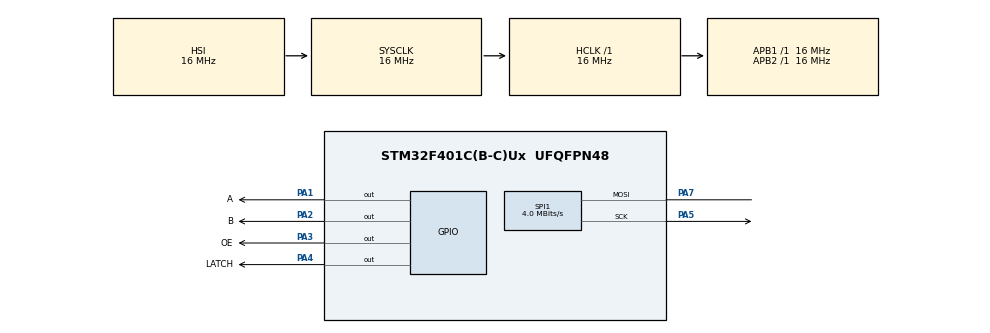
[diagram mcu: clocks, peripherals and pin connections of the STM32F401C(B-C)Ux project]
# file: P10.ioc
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Mcu.Family=STM32F4
Mcu.Name=STM32F401C(B-C)Ux
Mcu.Package=UFQFPN48
NVIC.PriorityGroup=NVIC_PRIORITYGROUP_4
NVIC.TIM2_IRQn=true\:0\:0\:false\:false\:true\:true\:true\:true
PA1.GPIO_Label=A
PA1.Signal=GPIO_Output
PA13.Mode=Serial_Wire
PA13.Signal=SYS_JTMS-SWDIO
PA14.Mode=Serial_Wire
PA14.Signal=SYS_JTCK-SWCLK
PA2.GPIO_Label=B
PA2.Signal=GPIO_Output
PA3.GPIO_Label=OE
PA3.Signal=GPIO_Output
PA4.GPIO_Label=LATCH
PA4.Signal=GPIO_Output
PA5.Mode=Simplex_Bidirectional_Master
PA5.Signal=SPI1_SCK
PA7.Mode=Simplex_Bidirectional_Master
PA7.Signal=SPI1_MOSI
PH0\ -\ OSC_IN.Mode=HSE-External-Clock-Source
PH0\ -\ OSC_IN.Signal=RCC_OSC_IN
PH1\ -\ OSC_OUT.Mode=HSE-External-Clock-Source
PH1\ -\ OSC_OUT.Signal=RCC_OSC_OUT
ProjectManager.HeapSize=0x200
ProjectManager.StackSize=0x400
ProjectManager.TargetToolchain=STM32CubeIDE
RCC.AHBFreq_Value=16000000
RCC.APB1Freq_Value=16000000
RCC.APB2Freq_Value=16000000
RCC.CortexFreq_Value=16000000
RCC.HSE_VALUE=25000000
RCC.HSI_VALUE=16000000
RCC.LSE_VALUE=32768
RCC.SYSCLKFreq_VALUE=16000000
RCC.VCOOutputFreq_Value=192000000
SPI1.BaudRatePrescaler=SPI_BAUDRATEPRESCALER_4
SPI1.CalculateBaudRate=4.0 MBits/s
SPI1.Direction=SPI_DIRECTION_1LINE
SPI1.Mode=SPI_MODE_MASTER
SPI1.VirtualType=VM_MASTER
TIM2.AutoReloadPreload=TIM_AUTORELOAD_PRELOAD_ENABLE
TIM2.Period=160
TIM2.Prescaler=1000
TIM2.TIM_MasterOutputTrigger=TIM_TRGO_UPDATE
VP_TIM2_VS_ClockSourceINT.Mode=Internal
board=custom

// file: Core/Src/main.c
/* USER CODE BEGIN Header */
/**
  ******************************************************************************
  * @file           : main.c
  * @brief          : Main program body
  ******************************************************************************
  * @attention
  *
  * Copyright (c) 2023 STMicroelectronics.
  * All rights reserved.
  *
  * This software is licensed under terms that can be found in the LICENSE file
  * in the root directory of this software component.
  * If no LICENSE file comes with this software, it is provided AS-IS.
  *
  ******************************************************************************
  */
/* USER CODE END Header */
#include "main.h"

/* USER CODE BEGIN Includes */
#include "font.h"
/* USER CODE END Includes */

/* USER CODE BEGIN PM */
uint8_t s_0[2][6][5] = {{
		{0,0,0,0,0},
		{1,0,0,0,1},
		{1,1,0,1,1},
		{1,1,0,1,1},
		{1,0,0,0,1},
		{0,0,0,0,0}},
		{
		{2,1,0,1,2},
		{2,0,0,1,2},
		{2,1,0,1,2},
		{2,1,0,1,2},
		{2,1,0,1,2},
		{2,0,0,0,2}
		}

};

char ALFABE[2] = "01";
/* USER CODE END PM */

SPI_HandleTypeDef hspi1;

TIM_HandleTypeDef htim2;

void SystemClock_Config(void);
static void MX_GPIO_Init(void);
static void MX_SPI1_Init(void);
static void MX_TIM2_Init(void);

/* USER CODE BEGIN 0 */
volatile uint8_t displayArea[4][16];
uint8_t EKRAN[16][32];
uint8_t transmitData;
int brightness =500;
uint8_t findCharIndex(char a)
{
	for(int i=0;i<sizeof(ALFABE);i++)
	{
		if(ALFABE[i] == a)
			return i;
	}
	return 254;
}
void Latch()
{
  HAL_GPIO_WritePin(GPIOA, LATCH_Pin, 1);
  HAL_GPIO_WritePin(GPIOA, LATCH_Pin, 0);
}
void writeData()
{
   for (uint8_t row = 0; row < 4; row++)
   {
	 HAL_GPIO_WritePin(GPIOA,A_Pin, row & 1);
	 HAL_GPIO_WritePin(GPIOA,B_Pin, row & 2);
    for (uint8_t col = 0; col < 16; col++)
    {
    	transmitData = displayArea[row][col];
    	HAL_SPI_Transmit(&hspi1, &transmitData, sizeof(transmitData), 2);
    }

    Latch();
    HAL_GPIO_WritePin(GPIOA, OE_Pin,1);
    HAL_Delay(5);
    HAL_GPIO_WritePin(GPIOA, OE_Pin,0);
   }

}
void clearScreen()
{
  for (uint8_t row = 0; row < 4; row++)
    for (uint8_t col = 0; col < 16; col++)
      displayArea[row][col] = 0xFF;
  for (uint8_t row = 0; row < 16; row++)
      for (uint8_t col = 0; col < 32; col++)
        EKRAN[row][col] = 1;
}
void drawPixel(uint8_t X,uint8_t Y,uint8_t Value)
{
	if(Value != 0 && Value != 1)
		return;
	EKRAN[Y][X] = Value;
}
void HAL_TIM_PeriodElapsedCallback(TIM_HandleTypeDef* htim)
{
	if(htim == &htim2)
	{

	}
}
uint8_t SATIR1INDEX=0;
uint8_t SATIR2INDEX=0;
uint8_t size = sizeof(s_0[0][0]);
int pows(int poww,int sayi)
{
	if (poww == 0)
		return 1;
	int buf = sayi;
	for (size_t i = 0; i < poww-1; i++)
	{
		buf *= sayi;
	}

	return buf;
}
void setAreaData(uint8_t bolge,uint8_t satir,uint8_t value)
{
	uint8_t etken=0;
	if(bolge <= 4)
	{
		displayArea[satir][3+(bolge-1)*4] = value;
	}else if(bolge <= 8 && bolge > 4)
	{
		displayArea[satir][2+(bolge-5)*4] = value;
	}else if(bolge > 8 && bolge <= 12)
	{
		displayArea[satir][1+(bolge-9)*4] = value;
	}else if(bolge > 12 && bolge <= 16)
	{
		displayArea[satir][0+(bolge-13)*4] = value;
	}

}
void WRITEE(uint8_t *STR,uint8_t len,uint8_t satirx)
{
	uint8_t CHARINDEX;
	uint8_t FREECOLCOUNT;
	if(satirx == 1)
	{
		for(int i = 0;i<len;i++)
			{
				CHARINDEX = findCharIndex(STR[i]);
				if(CHARINDEX == 254)
					continue;
				FREECOLCOUNT = 0;
				for(int s=0;s<5;s++)
				{
					if(s_0[CHARINDEX][0][s] == 2)
						FREECOLCOUNT++;
				}
				if(SATIR1INDEX + sizeof(s_0[CHARINDEX][0])-FREECOLCOUNT <= 32)
				{
					for(int satirr = 0;satirr<6;satirr++)
					{
						uint8_t SatirFreeTakip=0;
						for(int j=0;j<size;j++)
						{
							if(s_0[CHARINDEX][satirr][j] == 2)
							{
								SatirFreeTakip++;
								continue;
							}
							EKRAN[satirr][SATIR1INDEX+j-SatirFreeTakip] = s_0[CHARINDEX][satirr][j];
						}
					}
					SATIR1INDEX += 6-FREECOLCOUNT;

				}else
					break;
			}
	}else
	{
		for(int i = 0;i<len;i++)
			{
				CHARINDEX = findCharIndex(STR[i]);
				if(CHARINDEX == 254)
					continue;
				FREECOLCOUNT = 0;
				for(int s=0;s<5;s++)
				{
					if(s_0[CHARINDEX][0][s] == 2)
						FREECOLCOUNT++;
				}
				if(SATIR2INDEX + sizeof(s_0[CHARINDEX][0])-FREECOLCOUNT <= 32)
				{
					for(int satirr = 0;satirr<6;satirr++)
					{
						uint8_t SatirFreeTakip=0;
						for(int j=0;j<size;j++)
						{
							if(s_0[CHARINDEX][satirr][j] == 2)
							{
								SatirFreeTakip++;
								continue;
							}
							EKRAN[satirr+8][SATIR2INDEX+j-SatirFreeTakip] = s_0[CHARINDEX][satirr][j];
						}
					}
					SATIR2INDEX += 6-FREECOLCOUNT;

				}else
					break;
			}
	}
	// PİYASA BAŞLANGIÇÇÇ

	uint8_t BUFFERSAYI=0,TUR=0,vv=0;
	for(int satirr = 0;satirr<16;satirr++)
	{
		TUR=0;BUFFERSAYI =0;
		for(int sutun = 0;sutun<32;sutun++)
		{
			if(EKRAN[satirr][sutun] == 1)
				BUFFERSAYI += pows(7-(sutun-TUR*8), 2);
			if(sutun-TUR*8 == 7)
			{
				TUR++; // ÖNEMLİ BÖLGE 0 OLMAMALI TURU ARTTIR ALLAHINI SİKERİM
				uint8_t bolge=0;
				bolge = (satirr/4)*4+TUR;
				setAreaData(bolge,satirr%4, BUFFERSAYI);
				BUFFERSAYI = 0;
				vv++;
			}
		}
	}

	// PIYASA BITIS BABALAR SİKİŞ
}
uint8_t a[] = "101";
uint8_t b[] = "010";
/* USER CODE END 0 */

int main(void)
{

  /* MCU Configuration--------------------------------------------------------*/

  /* Reset of all peripherals, Initializes the Flash interface and the Systick. */
  HAL_Init();

  /* Configure the system clock */
  SystemClock_Config();

  /* Initialize all configured peripherals */
  MX_GPIO_Init();
  MX_SPI1_Init();
  MX_TIM2_Init();
  /* USER CODE BEGIN 2 */
  HAL_GPIO_WritePin(GPIOA, OE_Pin,0);
    HAL_GPIO_WritePin(GPIOA, A_Pin,0);
    HAL_GPIO_WritePin(GPIOA, B_Pin,0);
    HAL_GPIO_WritePin(GPIOA, LATCH_Pin,0);

  HAL_TIM_Base_Start_IT(&htim2);
  clearScreen();
  displayArea[1][6]=0x99;
  displayArea[2][6]=0x99;
  displayArea[3][6]=0b10000001;
  displayArea[0][5]=0b11000011;
  displayArea[1][5]=0b11100111;
  displayArea[2][5]=0b11100111;
  displayArea[3][5]=0b11100111;
  displayArea[3][10]=0b11001111;
  displayArea[0][9]=0b10110110;
  displayArea[1][9]=0b10000110;
  displayArea[2][9]=0b10111111;
  displayArea[3][9]=0b11000110;
  displayArea[1][14]=displayArea[2][14]=0b11111011;
  displayArea[3][14]=displayArea[1][13]=0b11011;
  displayArea[0][13]=0b11111011;
  displayArea[2][13]=0b11011111;
  displayArea[3][13]=0b111011;
  clearScreen();
  WRITEE(a, sizeof(a), 1);
  WRITEE(b, sizeof(b), 2);
  //writeData();
  /* USER CODE END 2 */

  /* Infinite loop */
  while (1)
  {

    /* USER CODE BEGIN 3 */

	  writeData();

  }
  /* USER CODE END 3 */
}

void SystemClock_Config(void)
{
  RCC_OscInitTypeDef RCC_OscInitStruct = {0};
  RCC_ClkInitTypeDef RCC_ClkInitStruct = {0};

  /** Configure the main internal regulator output voltage
  */
  __HAL_RCC_PWR_CLK_ENABLE();
  __HAL_PWR_VOLTAGESCALING_CONFIG(PWR_REGULATOR_VOLTAGE_SCALE2);

  /** Initializes the RCC Oscillators according to the specified parameters
  * in the RCC_OscInitTypeDef structure.
  */
  RCC_OscInitStruct.OscillatorType = RCC_OSCILLATORTYPE_HSI;
  RCC_OscInitStruct.HSIState = RCC_HSI_ON;
  RCC_OscInitStruct.HSICalibrationValue = RCC_HSICALIBRATION_DEFAULT;
  RCC_OscInitStruct.PLL.PLLState = RCC_PLL_NONE;
  if (HAL_RCC_OscConfig(&RCC_OscInitStruct) != HAL_OK)
  {
    Error_Handler();
  }

  /** Initializes the CPU, AHB and APB buses clocks
  */
  RCC_ClkInitStruct.ClockType = RCC_CLOCKTYPE_HCLK|RCC_CLOCKTYPE_SYSCLK
                              |RCC_CLOCKTYPE_PCLK1|RCC_CLOCKTYPE_PCLK2;
  RCC_ClkInitStruct.SYSCLKSource = RCC_SYSCLKSOURCE_HSI;
  RCC_ClkInitStruct.AHBCLKDivider = RCC_SYSCLK_DIV1;
  RCC_ClkInitStruct.APB1CLKDivider = RCC_HCLK_DIV1;
  RCC_ClkInitStruct.APB2CLKDivider = RCC_HCLK_DIV1;

  if (HAL_RCC_ClockConfig(&RCC_ClkInitStruct, FLASH_LATENCY_0) != HAL_OK)
  {
    Error_Handler();
  }
}

static void MX_SPI1_Init(void)
{

  /* SPI1 parameter configuration*/
  hspi1.Instance = SPI1;
  hspi1.Init.Mode = SPI_MODE_MASTER;
  hspi1.Init.Direction = SPI_DIRECTION_1LINE;
  hspi1.Init.DataSize = SPI_DATASIZE_8BIT;
  hspi1.Init.CLKPolarity = SPI_POLARITY_LOW;
  hspi1.Init.CLKPhase = SPI_PHASE_1EDGE;
  hspi1.Init.NSS = SPI_NSS_SOFT;
  hspi1.Init.BaudRatePrescaler = SPI_BAUDRATEPRESCALER_4;
  hspi1.Init.FirstBit = SPI_FIRSTBIT_MSB;
  hspi1.Init.TIMode = SPI_TIMODE_DISABLE;
  hspi1.Init.CRCCalculation = SPI_CRCCALCULATION_DISABLE;
  hspi1.Init.CRCPolynomial = 10;
  if (HAL_SPI_Init(&hspi1) != HAL_OK)
  {
    Error_Handler();
  }

}

static void MX_TIM2_Init(void)
{

  TIM_ClockConfigTypeDef sClockSourceConfig = {0};
  TIM_MasterConfigTypeDef sMasterConfig = {0};

  htim2.Instance = TIM2;
  htim2.Init.Prescaler = 1000;
  htim2.Init.CounterMode = TIM_COUNTERMODE_UP;
  htim2.Init.Period = 160;
  htim2.Init.ClockDivision = TIM_CLOCKDIVISION_DIV1;
  htim2.Init.AutoReloadPreload = TIM_AUTORELOAD_PRELOAD_ENABLE;
  if (HAL_TIM_Base_Init(&htim2) != HAL_OK)
  {
    Error_Handler();
  }
  sClockSourceConfig.ClockSource = TIM_CLOCKSOURCE_INTERNAL;
  if (HAL_TIM_ConfigClockSource(&htim2, &sClockSourceConfig) != HAL_OK)
  {
    Error_Handler();
  }
  sMasterConfig.MasterOutputTrigger = TIM_TRGO_UPDATE;
  sMasterConfig.MasterSlaveMode = TIM_MASTERSLAVEMODE_DISABLE;
  if (HAL_TIMEx_MasterConfigSynchronization(&htim2, &sMasterConfig) != HAL_OK)
  {
    Error_Handler();
  }

}

static void MX_GPIO_Init(void)
{
  GPIO_InitTypeDef GPIO_InitStruct = {0};

  /* GPIO Ports Clock Enable */
  __HAL_RCC_GPIOH_CLK_ENABLE();
  __HAL_RCC_GPIOA_CLK_ENABLE();

  /*Configure GPIO pin Output Level */
  HAL_GPIO_WritePin(GPIOA, A_Pin|B_Pin|OE_Pin|LATCH_Pin, GPIO_PIN_RESET);

  /*Configure GPIO pins : A_Pin B_Pin OE_Pin LATCH_Pin */
  GPIO_InitStruct.Pin = A_Pin|B_Pin|OE_Pin|LATCH_Pin;
  GPIO_InitStruct.Mode = GPIO_MODE_OUTPUT_PP;
  GPIO_InitStruct.Pull = GPIO_NOPULL;
  GPIO_InitStruct.Speed = GPIO_SPEED_FREQ_LOW;
  HAL_GPIO_Init(GPIOA, &GPIO_InitStruct);

}

void Error_Handler(void)
{
  __disable_irq();
  while (1)
  {
  }
}
